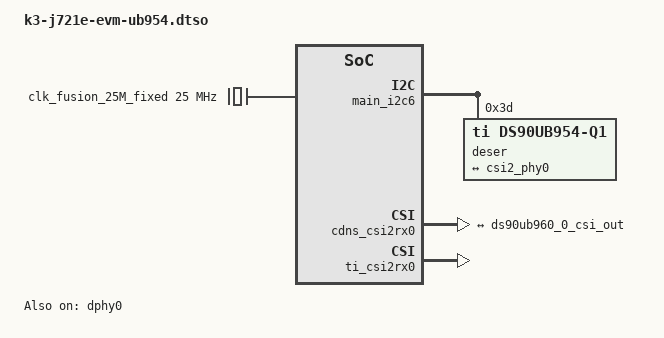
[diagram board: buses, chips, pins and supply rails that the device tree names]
// SPDX-License-Identifier: GPL-2.0
/*
 * DT Overlay for DS90UB954-Q1EVM FPDLink-III deserializer board on J721E EVM
 * https://www.ti.com/tool/DS90UB954-Q1EVM
 *
 * Copyright (C) 2024-2025 Texas Instruments Incorporated - https://www.ti.com/
 */

/dts-v1/;
/plugin/;

#include <dt-bindings/gpio/gpio.h>

&{/} {
	clk_fusion_25M_fixed: fixed-clock-25M {
		compatible = "fixed-clock";
		#clock-cells = <0>;
		clock-frequency = <25000000>;
	};
};


&main_i2c6 {
	#address-cells = <1>;
	#size-cells = <0>;
	status = "okay";

	deser@3d {
		compatible = "ti,ds90ub954-q1";
		reg = <0x3d>;
		clock-names = "refclk";
		clocks = <&clk_fusion_25M_fixed>;
		i2c-alias-pool = <0x4a 0x4b 0x4c 0x4d 0x4e 0x4f>;

		ds90ub960_0_ports: ports {
			#address-cells = <1>;
			#size-cells = <0>;

			/* CSI-2 TX */
			port@2 {
				reg = <2>;
				ds90ub960_0_csi_out: endpoint {
					data-lanes = <1 2 3 4>;
					clock-lanes = <0>;
					link-frequencies = /bits/ 64 <800000000>;
					remote-endpoint = <&csi2_phy0>;
				};
			};
		};

		ds90ub960_0_links: links {
			#address-cells = <1>;
			#size-cells = <0>;
		};
	};
};

&cdns_csi2rx0 {
	ports {
		#address-cells = <1>;
		#size-cells = <0>;

		csi0_port0: port@0 {
			reg = <0>;
			status = "okay";

			csi2_phy0: endpoint {
				remote-endpoint = <&ds90ub960_0_csi_out>;
				data-lanes = <1 2 3 4>;
				clock-lanes = <0>;
				link-frequencies = /bits/ 64 <800000000>;
			};
		};
	};
};

&ti_csi2rx0 {
	status = "okay";
};

&dphy0 {
	status = "okay";
};
